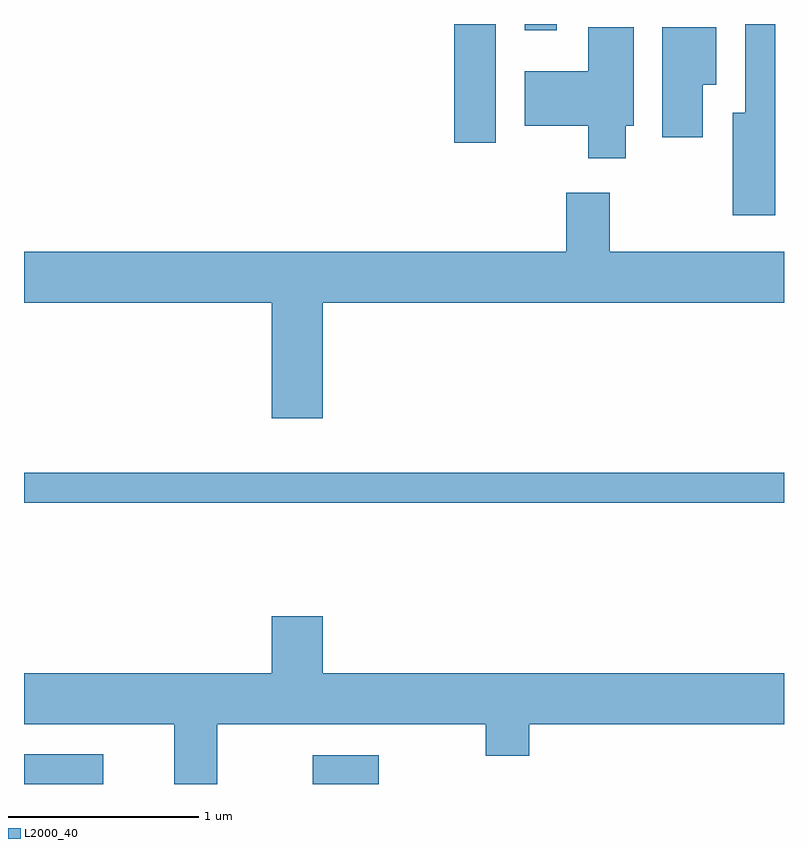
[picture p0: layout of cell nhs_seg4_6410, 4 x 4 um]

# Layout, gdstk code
import gdstk
lib = gdstk.Library(unit=1e-6, precision=1e-09)
def R(c, l, rs):  # rectangles x0, y0, x1, y1
    for r in rs: c.add(gdstk.rectangle(r[:2], r[2:], *l))
def P(c, l, *ps):  # polygons
    for p in ps: c.add(gdstk.Polygon(p, *l))
L2000_40 = (2000, 40)

nhs_seg4_6410 = lib.new_cell('nhs_seg4_6410')
R(nhs_seg4_6410, L2000_40, [(373.611,1289.982,374.028,1290.139), (375.131,1289.982,375.478,1290.134), (373.611,1291.461,377.611,1291.619), (375.876,1293.356,376.094,1293.982), (376.246,1293.948,376.414,1293.982)])
P(nhs_seg4_6410, L2000_40, [(377.564,1293.982),(377.406,1293.982),(377.406,1293.514),(377.341,1293.514),(377.341,1292.976),(377.564,1292.976)],
  [(376.779,1293.446),(376.819,1293.446),(376.819,1293.964),(376.581,1293.964),(376.581,1293.734),(376.246,1293.734),(376.246,1293.446),(376.581,1293.446),(376.581,1293.276),(376.779,1293.276)],
  [(377.184,1293.661),(377.254,1293.661),(377.254,1293.964),(376.971,1293.964),(376.971,1293.386),(377.184,1293.386)],
  [(375.184,1292.516),(377.611,1292.516),(377.611,1292.784),(376.694,1292.784),(376.694,1293.094),(376.466,1293.094),(376.466,1292.784),(373.611,1292.784),(373.611,1292.516),(374.916,1292.516),(374.916,1291.906),(375.184,1291.906)],
  [(374.629,1290.296),(376.041,1290.296),(376.041,1290.131),(376.269,1290.131),(376.269,1290.296),(377.611,1290.296),(377.611,1290.564),(375.184,1290.564),(375.184,1290.864),(374.916,1290.864),(374.916,1290.564),(373.611,1290.564),(373.611,1290.296),(374.401,1290.296),(374.401,1289.982),(374.629,1289.982)])

lib.write_gds('nhs_seg4_6410.gds')
